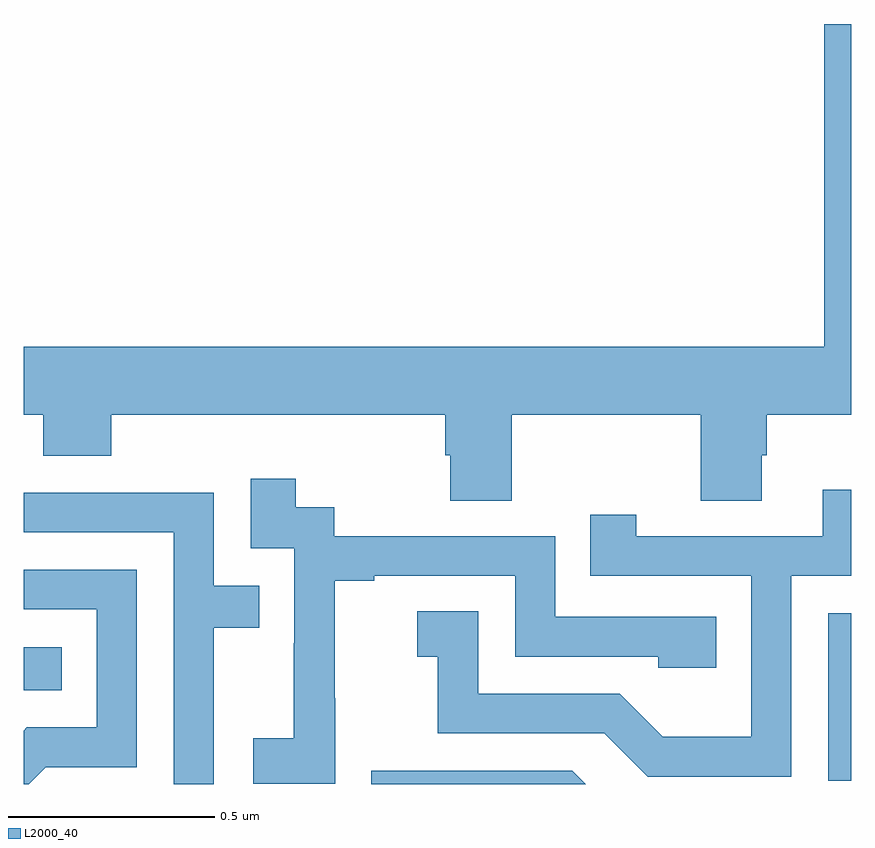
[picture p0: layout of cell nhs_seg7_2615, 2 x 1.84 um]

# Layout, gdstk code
import gdstk
lib = gdstk.Library(unit=1e-6, precision=1e-09)
def R(c, l, rs):  # rectangles x0, y0, x1, y1
    for r in rs: c.add(gdstk.rectangle(r[:2], r[2:], *l))
def P(c, l, *ps):  # polygons
    for p in ps: c.add(gdstk.Polygon(p, *l))
L2000_40 = (2000, 40)

nhs_seg7_2615 = lib.new_cell('nhs_seg7_2615')
R(nhs_seg7_2615, L2000_40, [(148.944,1057.008,149,1057.413), (147,1057.226,147.092,1057.33)])
P(nhs_seg7_2615, L2000_40, [(148.179,1057.892),(148.636,1057.892),(148.636,1057.684),(148.783,1057.684),(148.783,1057.794),(148.796,1057.794),(148.796,1057.892),(149,1057.892),(149,1058.836),(148.934,1058.836),(148.934,1058.056),(147,1058.056),(147,1057.892),(147.047,1057.892),(147.047,1057.793),(147.212,1057.793),(147.212,1057.892),(148.019,1057.892),(148.019,1057.794),(148.031,1057.794),(148.031,1057.684),(148.179,1057.684)],
  [(147.753,1057.207),(147.752,1057.207),(147.752,1057.491),(147.847,1057.491),(147.847,1057.503),(148.188,1057.503),(148.188,1057.308),(148.533,1057.308),(148.533,1057.281),(148.673,1057.281),(148.673,1057.404),(148.284,1057.404),(148.284,1057.599),(147.75,1057.599),(147.75,1057.668),(147.658,1057.668),(147.658,1057.738),(147.549,1057.738),(147.549,1057.569),(147.654,1057.569),(147.654,1057.34),(147.653,1057.34),(147.653,1057.111),(147.555,1057.111),(147.555,1057.001),(147.753,1057.001)],
  [(148.854,1057.503),(149,1057.503),(149,1057.711),(148.931,1057.711),(148.931,1057.599),(148.48,1057.599),(148.48,1057.651),(148.369,1057.651),(148.369,1057.503),(148.758,1057.503),(148.758,1057.114),(148.544,1057.114),(148.44,1057.218),(148.098,1057.218),(148.098,1057.417),(147.951,1057.417),(147.951,1057.307),(148,1057.307),(148,1057.122),(148.403,1057.122),(148.508,1057.017),(148.854,1057.017)],
  [(147.459,1057.378),(147.569,1057.378),(147.569,1057.479),(147.459,1057.479),(147.459,1057.704),(147,1057.704),(147,1057.608),(147.363,1057.608),(147.363,1057),(147.459,1057)],
  [(147.054,1057.041),(147.273,1057.041),(147.273,1057.518),(147,1057.518),(147,1057.422),(147.177,1057.422),(147.177,1057.137),(147.008,1057.137),(147,1057.129),(147,1057),(147.013,1057)],
  [(148.326,1057.032),(147.84,1057.032),(147.84,1057),(148.358,1057)])

lib.write_gds('nhs_seg7_2615.gds')
